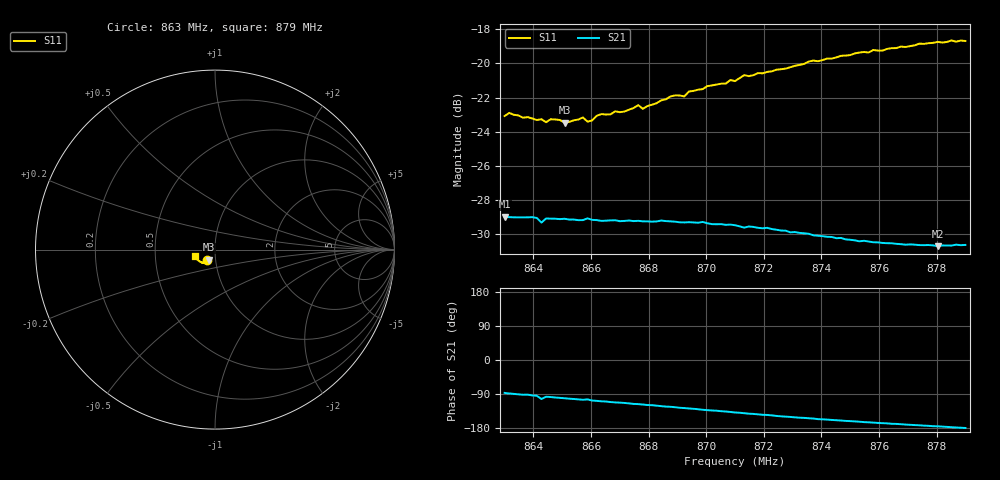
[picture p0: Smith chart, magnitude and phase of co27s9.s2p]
# HZ S RI R 50
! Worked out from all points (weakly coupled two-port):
!   101 points, 863 MHz to 879 MHz, reference 50 ohm
!   highest |S21| = -28.99 dB at 863 MHz (marker M1); lowest = -30.7 dB at 878.04 MHz (marker M2)
!   lowest |S11| = -23.5 dB at 865.08 MHz (marker M3), VSWR 1.14, Z = 46.3 - j5.28 ohm
!   |S11| at or under -10 dB: start of sweep to end of sweep
!   S12 and S22 are empty: the file has one direction only
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8.63e8  -0.043 -0.0554  0.00198 -0.0355  0 0  0 0
8.6316e8  -0.044 -0.0565  0.00103 -0.0354  0 0  0 0
8.6396e8  -0.0416 -0.055  -0.00216 -0.0354  0 0  0 0
8.6428e8  -0.0381 -0.0571  -0.00764 -0.0333  0 0  0 0
8.6444e8  -0.0383 -0.0553  -0.00426 -0.0349  0 0  0 0
8.646e8  -0.0382 -0.057  -0.0047 -0.0348  0 0  0 0
8.6508e8  -0.0356 -0.0568  -0.00668 -0.0344  0 0  0 0
8.6572e8  -0.0366 -0.059  -0.00896 -0.0336  0 0  0 0
8.6588e8  -0.0334 -0.0586  -0.00844 -0.0341  0 0  0 0
8.6636e8  -0.0376 -0.0602  -0.0112 -0.0327  0 0  0 0
8.6716e8  -0.0357 -0.0629  -0.0137 -0.0317  0 0  0 0
8.6764e8  -0.0375 -0.0655  -0.0154 -0.031  0 0  0 0
8.678e8  -0.037 -0.0636  -0.0159 -0.0306  0 0  0 0
8.6844e8  -0.039 -0.0675  -0.0183 -0.0294  0 0  0 0
8.7084e8  -0.051 -0.0734  -0.0247 -0.0229  0 0  0 0
8.71e8  -0.0501 -0.0732  -0.0251 -0.0222  0 0  0 0
8.7132e8  -0.053 -0.0757  -0.0254 -0.021  0 0  0 0
8.7212e8  -0.0582 -0.0744  -0.027 -0.0189  0 0  0 0
8.7372e8  -0.0692 -0.0748  -0.0283 -0.0135  0 0  0 0
8.7644e8  -0.0929 -0.0605  -0.0291 -0.00599  0 0  0 0
8.7804e8  -0.1052 -0.0479  -0.029 -0.00256  0 0  0 0
8.79e8  -0.1101 -0.0376  -0.0294 -0.000304  0 0  0 0
